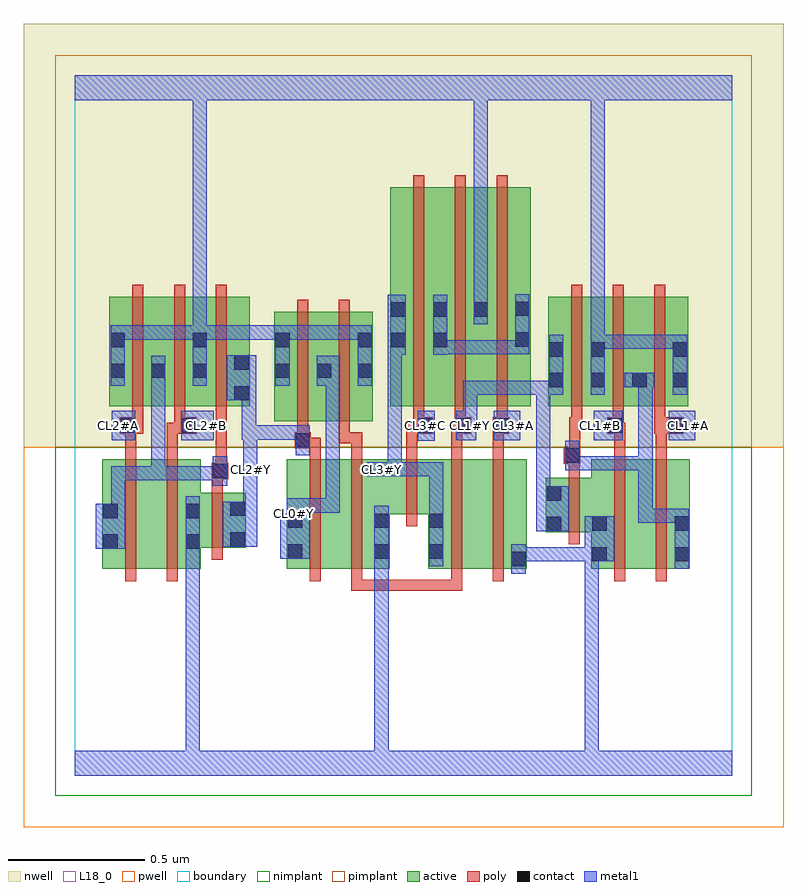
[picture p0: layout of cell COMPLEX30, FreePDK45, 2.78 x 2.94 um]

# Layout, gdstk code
import gdstk
lib = gdstk.Library(unit=1e-6, precision=1e-09)
def R(c, l, rs):  # rectangles x0, y0, x1, y1
    for r in rs: c.add(gdstk.rectangle(r[:2], r[2:], *l))
def A(c, l, x, y, w, h, nx, ny, dx, dy):  # array of equal rectangles
    R(c, l, [(x+i*dx, y+j*dy, x+i*dx+w, y+j*dy+h) for i in range(nx) for j in range(ny)])
active = (1, 0)
pwell = (2, 0)
nwell = (3, 0)
nimplant = (4, 0)
pimplant = (5, 0)
poly = (9, 0)
contact = (10, 0)
metal1 = (11, 0)
L18_0 = (18, 0)
boundary = (235, 0)

complex30 = lib.new_cell('COMPLEX30')
A(complex30, active, 0.274, 1.35, 0.06, 0.294, 3, 1, 0.152, 0)
A(complex30, active, 1.728, 1.35, 0.06, 0.294, 3, 1, 0.152, 0)
R(complex30, active, [(0.1,0.756,0.16,1.156), (0.1,0.756,0.28,1.156), (0.28,0.756,0.46,1.156), (0.4,0.756,0.46,1.034), (0.774,0.756,0.834,1.156), (0.774,0.756,0.954,1.156), (0.954,0.756,1.15,1.156), (1.09,0.756,1.15,1.156), (1.29,0.756,1.35,1.156), (1.29,0.756,1.47,1.156), (1.47,0.756,1.65,1.156), (1.59,0.756,1.65,1.156), (1.886,0.756,2.066,1.156), (1.886,0.756,1.946,1.09), (2.066,0.756,2.246,1.156), (2.186,0.756,2.246,1.156), (0.4,0.834,0.624,1.034), (0.564,0.834,0.624,1.034), (1.72,0.89,1.946,1.09), (1.72,0.89,1.78,1.09), (1.09,0.956,1.35,1.156), (0.728,1.296,0.788,1.696), (0.728,1.296,0.94,1.696), (0.88,1.296,1.088,1.696), (1.028,1.296,1.088,1.696), (0.126,1.35,0.186,1.644), (0.126,1.35,0.334,1.75), (0.274,1.35,0.486,1.75), (0.426,1.35,0.638,1.75), (1.152,1.35,1.212,2.15), (1.152,1.35,1.364,2.15), (1.304,1.35,1.512,2.15), (1.304,1.35,1.364,2.044), (1.452,1.35,1.512,2.15), (1.452,1.35,1.664,2.15), (1.604,1.35,1.664,2.15), (1.728,1.35,1.94,1.75), (1.88,1.35,2.092,1.75), (2.032,1.35,2.24,1.75), (2.18,1.35,2.24,1.644), (0.88,1.45,0.94,1.644)])
R(complex30, pwell, [(-0.188,-0.188,2.588,1.2)])
R(complex30, nwell, [(-0.188,1.2,2.588,2.748)])
R(complex30, nimplant, [(-0.072,-0.072,2.472,1.2)])
R(complex30, pimplant, [(-0.072,1.2,2.472,2.632)])
A(complex30, poly, 1.236, 1.27, 0.04, 0.076, 3, 1, 0.152, 0)
A(complex30, poly, 1.812, 1.27, 0.04, 0.076, 3, 1, 0.152, 0)
A(complex30, poly, 0.21, 1.306, 0.04, 0.488, 3, 1, 0.152, 0)
A(complex30, poly, 1.236, 1.306, 0.04, 0.888, 3, 1, 0.152, 0)
A(complex30, poly, 1.812, 1.306, 0.04, 0.488, 3, 1, 0.152, 0)
R(complex30, poly, [(1.01,0.676,1.05,0.752), (1.01,0.676,1.05,0.716), (1.01,0.676,1.05,0.716), (1.01,0.676,1.05,0.716), (1.01,0.676,1.308,0.716), (1.268,0.676,1.308,0.716), (1.268,0.676,1.308,0.716), (1.268,0.676,1.308,0.716), (1.268,0.676,1.414,0.716), (1.374,0.676,1.414,0.752), (1.374,0.676,1.414,0.716), (1.374,0.676,1.414,0.716), (1.374,0.676,1.414,0.716), (0.184,0.712,0.224,1.2), (0.336,0.712,0.376,1.2), (0.858,0.712,0.898,1.2), (1.01,0.712,1.05,1.2), (1.374,0.712,1.414,1.2), (1.526,0.712,1.566,1.2), (1.97,0.712,2.01,1.2), (2.122,0.712,2.162,1.2), (0.5,0.79,0.54,1.078), (1.804,0.846,1.844,1.134), (1.21,0.912,1.25,1.2), (0.5,1.038,0.54,1.124), (0.5,1.084,0.56,1.144), (1.804,1.094,1.844,1.18), (0.514,1.104,0.554,1.144), (0.514,1.104,0.554,1.144), (0.514,1.104,0.554,1.346), (1.786,1.14,1.846,1.2), (0.184,1.16,0.224,1.29), (0.336,1.16,0.376,1.29), (0.858,1.16,0.898,1.236), (1.01,1.16,1.05,1.256), (1.21,1.16,1.25,1.29), (1.374,1.16,1.414,1.29), (1.526,1.16,1.566,1.29), (1.806,1.16,1.846,1.31), (1.97,1.16,2.01,1.29), (2.122,1.16,2.162,1.29), (0.802,1.196,0.862,1.256), (0.822,1.196,0.862,1.236), (0.822,1.196,0.898,1.236), (0.812,1.216,0.852,1.292), (0.964,1.216,1.004,1.292), (0.964,1.216,1.024,1.256), (0.984,1.216,1.024,1.256), (0.984,1.216,1.05,1.256), (0.164,1.25,0.25,1.31), (0.184,1.25,0.224,1.29), (0.184,1.25,0.224,1.29), (0.336,1.25,0.402,1.29), (0.362,1.25,0.402,1.29), (0.362,1.25,0.444,1.31), (1.21,1.25,1.276,1.29), (1.236,1.25,1.276,1.29), (1.236,1.25,1.308,1.31), (1.374,1.25,1.428,1.29), (1.388,1.25,1.428,1.29), (1.388,1.25,1.448,1.31), (1.526,1.25,1.586,1.31), (1.944,1.25,2.004,1.31), (1.964,1.25,2.004,1.29), (1.964,1.25,2.01,1.29), (2.116,1.25,2.224,1.31), (0.812,1.252,0.852,1.74), (0.964,1.252,1.004,1.74), (0.21,1.27,0.25,1.346), (0.362,1.27,0.402,1.346), (1.54,1.27,1.58,1.31), (1.54,1.27,1.58,1.31), (1.806,1.27,1.852,1.31), (2.116,1.27,2.156,1.31), (2.116,1.27,2.156,1.31)])
A(complex30, contact, 1.732, 1.42, 0.052, 0.052, 3, 1, 0.152, 0)
R(complex30, contact, [(1.594,0.766,1.646,0.818), (1.89,0.784,1.942,0.836), (2.19,0.784,2.242,0.836), (0.778,0.794,0.83,0.846), (1.094,0.794,1.146,0.846), (1.294,0.794,1.346,0.846), (0.104,0.83,0.156,0.882), (0.404,0.83,0.456,0.882), (0.568,0.838,0.62,0.89), (1.724,0.894,1.776,0.946), (1.89,0.896,1.942,0.948), (2.19,0.896,2.242,0.948), (0.778,0.906,0.83,0.958), (1.094,0.906,1.146,0.958), (1.294,0.906,1.346,0.958), (0.104,0.942,0.156,0.994), (0.404,0.942,0.456,0.994), (0.568,0.95,0.62,1.002), (1.724,1.006,1.776,1.058), (0.504,1.088,0.556,1.14), (1.79,1.144,1.842,1.196), (0.806,1.2,0.858,1.252), (0.168,1.254,0.22,1.306), (0.388,1.254,0.44,1.306), (1.252,1.254,1.304,1.306), (1.392,1.254,1.444,1.306), (1.53,1.254,1.582,1.306), (1.948,1.254,2,1.306), (2.168,1.254,2.22,1.306), (0.582,1.372,0.634,1.424), (2.184,1.42,2.236,1.472), (0.13,1.454,0.182,1.506), (0.278,1.454,0.33,1.506), (0.43,1.454,0.482,1.506), (0.732,1.454,0.784,1.506), (0.884,1.454,0.936,1.506), (1.032,1.454,1.084,1.506), (0.582,1.484,0.634,1.536), (1.732,1.532,1.784,1.584), (1.884,1.532,1.936,1.584), (2.184,1.532,2.236,1.584), (0.13,1.566,0.182,1.618), (0.43,1.566,0.482,1.618), (0.732,1.566,0.784,1.618), (1.032,1.566,1.084,1.618), (1.156,1.566,1.208,1.618), (1.308,1.566,1.36,1.618), (1.608,1.568,1.66,1.62), (1.156,1.678,1.208,1.73), (1.308,1.678,1.36,1.73), (1.456,1.678,1.508,1.73), (1.608,1.68,1.66,1.732)])
R(complex30, metal1, [(0,0,2.4,0.092), (0.404,0.04,0.456,0.092), (0.404,0.04,0.456,0.092), (0.404,0.04,0.456,0.092), (0.404,0.04,0.456,0.092), (0.404,0.04,0.456,0.092), (0.404,0.04,0.456,0.092), (0.404,0.04,0.456,0.092), (0.404,0.04,0.456,0.092), (0.404,0.04,0.456,0.092), (0.404,0.04,0.456,0.092), (0.404,0.04,0.456,0.092), (0.404,0.04,0.456,0.092), (0.404,0.04,0.456,0.854), (1.094,0.04,1.146,0.092), (1.094,0.04,1.146,0.092), (1.094,0.04,1.146,0.092), (1.094,0.04,1.146,0.092), (1.094,0.04,1.146,0.092), (1.094,0.04,1.146,0.092), (1.094,0.04,1.146,0.092), (1.094,0.04,1.146,0.092), (1.094,0.04,1.146,0.092), (1.094,0.04,1.146,0.092), (1.094,0.04,1.146,0.092), (1.094,0.04,1.146,0.092), (1.094,0.04,1.146,0.818), (1.862,0.04,1.914,0.092), (1.862,0.04,1.914,0.092), (1.862,0.04,1.914,0.092), (1.862,0.04,1.914,0.092), (1.862,0.04,1.914,0.092), (1.862,0.04,1.914,0.092), (1.862,0.04,1.914,0.092), (1.862,0.04,1.914,0.092), (1.862,0.04,1.914,0.836), (1.594,0.738,1.646,0.846), (2.19,0.756,2.242,0.976), (1.094,0.766,1.146,0.986), (1.294,0.766,1.346,0.986), (1.594,0.784,1.778,0.836), (1.726,0.784,1.778,0.836), (1.726,0.784,1.778,0.836), (1.726,0.784,1.778,0.836), (1.726,0.784,1.914,0.836), (1.862,0.784,1.914,0.836), (1.862,0.784,1.914,0.836), (1.862,0.784,1.914,0.836), (1.862,0.784,1.914,0.836), (1.862,0.784,1.97,0.948), (0.75,0.794,0.858,0.958), (0.404,0.802,0.456,1.022), (0.076,0.83,0.184,0.994), (0.54,0.838,0.666,1.002), (1.684,0.894,1.804,1.058), (0.774,0.906,0.826,0.958), (0.774,0.906,0.826,1.014), (2.058,0.924,2.11,0.976), (2.058,0.924,2.242,0.976), (2.058,0.924,2.11,1.168), (2.19,0.924,2.242,0.976), (2.19,0.924,2.242,0.976), (1.294,0.934,1.346,1.146), (0.132,0.942,0.184,1.132), (0.614,0.95,0.666,1.118), (0.774,0.962,0.826,1.014), (0.774,0.962,0.826,1.014), (0.774,0.962,0.968,1.014), (0.916,0.962,0.968,1.014), (0.916,0.962,0.968,1.038), (0.916,0.986,0.968,1.038), (0.916,0.986,0.968,1.478), (1.684,1.006,1.736,1.444), (0.504,1.06,0.556,1.168), (0.614,1.066,0.666,1.174), (0.132,1.08,0.184,1.132), (0.132,1.08,0.184,1.132), (0.132,1.08,0.184,1.132), (0.132,1.08,0.33,1.132), (0.278,1.08,0.33,1.132), (0.278,1.08,0.33,1.132), (0.278,1.08,0.33,1.132), (0.278,1.08,0.33,1.132), (0.278,1.08,0.33,1.132), (0.278,1.08,0.456,1.132), (0.278,1.08,0.33,1.478), (0.404,1.08,0.456,1.132), (0.404,1.08,0.556,1.132), (1.066,1.094,1.194,1.146), (1.142,1.094,1.194,1.146), (1.142,1.094,1.194,1.146), (1.142,1.094,1.194,1.146), (1.142,1.094,1.194,1.146), (1.142,1.094,1.346,1.146), (1.142,1.094,1.194,1.59), (1.294,1.094,1.346,1.146), (1.79,1.116,1.89,1.168), (1.79,1.116,1.842,1.224), (1.838,1.116,1.89,1.168), (1.838,1.116,2.11,1.168), (2.058,1.116,2.11,1.168), (2.058,1.116,2.11,1.168), (2.058,1.116,2.11,1.168), (2.058,1.116,2.11,1.168), (2.058,1.116,2.11,1.168), (2.058,1.116,2.11,1.472), (0.614,1.122,0.666,1.28), (0.806,1.172,0.858,1.28), (1.252,1.224,1.314,1.334), (0.134,1.226,0.22,1.334), (0.388,1.226,0.506,1.334), (1.392,1.226,1.466,1.334), (1.53,1.226,1.626,1.334), (1.894,1.226,2,1.334), (2.168,1.226,2.266,1.334), (0.61,1.228,0.666,1.28), (0.61,1.228,0.662,1.424), (0.614,1.228,0.666,1.28), (0.614,1.228,0.666,1.28), (0.614,1.228,0.858,1.28), (1.414,1.282,1.47,1.334), (1.418,1.282,1.47,1.444), (0.554,1.372,0.662,1.536), (1.418,1.392,1.618,1.444), (1.566,1.392,1.618,1.444), (1.566,1.392,1.618,1.444), (1.566,1.392,1.618,1.444), (1.566,1.392,1.736,1.444), (1.684,1.392,1.736,1.444), (1.684,1.392,1.736,1.444), (1.684,1.392,1.784,1.444), (1.732,1.392,1.784,1.444), (1.732,1.392,1.784,1.612), (1.884,1.392,1.936,1.612), (2.184,1.392,2.236,1.612), (2.008,1.42,2.116,1.472), (0.13,1.426,0.182,1.646), (0.278,1.426,0.33,1.534), (0.43,1.426,0.482,1.646), (0.732,1.426,0.784,1.646), (0.884,1.426,0.968,1.534), (1.032,1.426,1.084,1.646), (1.142,1.538,1.208,1.758), (1.308,1.538,1.36,1.758), (1.308,1.54,1.36,1.592), (1.308,1.54,1.36,1.592), (1.308,1.54,1.47,1.592), (1.418,1.54,1.47,1.592), (1.418,1.54,1.576,1.592), (1.524,1.54,1.576,1.592), (1.524,1.54,1.66,1.592), (1.608,1.54,1.66,1.76), (1.884,1.56,1.936,1.612), (1.884,1.56,1.936,1.612), (1.884,1.56,1.936,1.612), (1.884,1.56,1.936,1.612), (1.884,1.56,1.936,1.612), (1.884,1.56,1.936,1.612), (1.884,1.56,1.936,1.612), (1.884,1.56,1.936,1.612), (1.884,1.56,1.936,1.612), (1.884,1.56,1.936,1.612), (1.884,1.56,2.11,1.612), (1.884,1.56,1.936,2.52), (2.058,1.56,2.11,1.612), (2.058,1.56,2.11,1.612), (2.058,1.56,2.11,1.612), (2.058,1.56,2.236,1.612), (2.184,1.56,2.236,1.612), (2.184,1.56,2.236,1.612), (0.13,1.594,0.182,1.646), (0.13,1.594,0.182,1.646), (0.13,1.594,0.346,1.646), (0.294,1.594,0.346,1.646), (0.294,1.594,0.346,1.646), (0.294,1.594,0.346,1.646), (0.294,1.594,0.482,1.646), (0.43,1.594,0.482,1.646), (0.43,1.594,0.482,1.646), (0.43,1.594,0.482,1.646), (0.43,1.594,0.482,1.646), (0.43,1.594,0.482,1.646), (0.43,1.594,0.482,1.646), (0.43,1.594,0.482,1.646), (0.43,1.594,0.482,1.646), (0.43,1.594,0.482,1.646), (0.43,1.594,0.482,1.646), (0.43,1.594,0.674,1.646), (0.43,1.594,0.482,2.52), (0.622,1.594,0.674,1.646), (0.622,1.594,0.784,1.646), (0.732,1.594,0.784,1.646), (0.732,1.594,0.784,1.646), (0.732,1.594,0.968,1.646), (0.916,1.594,0.968,1.646), (0.916,1.594,0.968,1.646), (0.916,1.594,0.968,1.646), (0.916,1.594,1.084,1.646), (1.456,1.65,1.508,1.758), (1.456,1.706,1.508,1.758), (1.456,1.706,1.508,1.758), (1.456,1.706,1.508,2.52), (0,2.468,2.4,2.56), (0.43,2.468,0.482,2.52), (0.43,2.468,0.482,2.52), (0.43,2.468,0.482,2.52), (0.43,2.468,0.482,2.52), (0.43,2.468,0.482,2.52), (0.43,2.468,0.482,2.52), (0.43,2.468,0.482,2.52), (0.43,2.468,0.482,2.52), (1.456,2.468,1.508,2.52), (1.456,2.468,1.508,2.52), (1.456,2.468,1.508,2.52), (1.456,2.468,1.508,2.52), (1.456,2.468,1.508,2.52), (1.456,2.468,1.508,2.52), (1.884,2.468,1.936,2.52), (1.884,2.468,1.936,2.52), (1.884,2.468,1.936,2.52), (1.884,2.468,1.936,2.52), (1.884,2.468,1.936,2.52), (1.884,2.468,1.936,2.52)])
A(complex30, L18_0, 0.774, 0.906, 0.052, 0.052, 1, 3, 0, 0.028)
A(complex30, L18_0, 1.254, 1.254, 0.052, 0.052, 3, 1, 0.16, 0)
R(complex30, L18_0, [(0,0,2.4,0.092), (0.404,0.04,0.456,0.092), (0.404,0.04,0.456,0.092), (0.404,0.04,0.456,0.092), (0.404,0.04,0.456,0.092), (0.404,0.04,0.456,0.092), (0.404,0.04,0.456,0.092), (0.404,0.04,0.456,0.092), (0.404,0.04,0.456,0.092), (0.404,0.04,0.456,0.092), (0.404,0.04,0.456,0.092), (0.404,0.04,0.456,0.092), (0.404,0.04,0.456,0.092), (0.404,0.04,0.456,0.854), (1.094,0.04,1.146,0.092), (1.094,0.04,1.146,0.092), (1.094,0.04,1.146,0.092), (1.094,0.04,1.146,0.092), (1.094,0.04,1.146,0.092), (1.094,0.04,1.146,0.092), (1.094,0.04,1.146,0.092), (1.094,0.04,1.146,0.092), (1.094,0.04,1.146,0.092), (1.094,0.04,1.146,0.092), (1.094,0.04,1.146,0.092), (1.094,0.04,1.146,0.092), (1.094,0.04,1.146,0.818), (1.862,0.04,1.914,0.092), (1.862,0.04,1.914,0.092), (1.862,0.04,1.914,0.092), (1.862,0.04,1.914,0.092), (1.862,0.04,1.914,0.092), (1.862,0.04,1.914,0.092), (1.862,0.04,1.914,0.092), (1.862,0.04,1.914,0.092), (1.862,0.04,1.914,0.836), (1.594,0.738,1.646,0.846), (1.094,0.766,1.146,0.986), (1.294,0.766,1.346,0.986), (1.594,0.784,1.778,0.836), (1.726,0.784,1.778,0.836), (1.726,0.784,1.778,0.836), (1.726,0.784,1.778,0.836), (1.726,0.784,1.914,0.836), (1.862,0.784,1.914,0.836), (1.862,0.784,1.914,0.836), (1.862,0.784,1.914,0.836), (1.862,0.784,1.914,0.836), (1.862,0.784,1.97,0.948), (0.75,0.794,0.858,0.958), (0.404,0.802,0.456,1.022), (0.54,0.838,0.666,1.002), (1.684,0.894,1.804,1.058), (0.774,0.906,0.826,1.014), (1.294,0.934,1.346,1.146), (0.614,0.95,0.666,1.118), (0.774,0.962,0.826,1.014), (0.774,0.962,0.968,1.014), (0.916,0.962,0.968,1.014), (0.916,0.962,0.968,1.038), (0.916,0.986,0.968,1.038), (0.916,0.986,0.968,1.478), (1.684,1.006,1.736,1.444), (0.614,1.066,0.666,1.174), (0.614,1.094,0.666,1.146), (1.066,1.094,1.194,1.146), (1.094,1.094,1.146,1.146), (1.142,1.094,1.194,1.146), (1.142,1.094,1.194,1.146), (1.142,1.094,1.194,1.146), (1.142,1.094,1.194,1.146), (1.142,1.094,1.194,1.59), (1.142,1.094,1.346,1.146), (1.294,1.094,1.346,1.146), (0.614,1.122,0.666,1.28), (0.806,1.172,0.858,1.28), (1.252,1.224,1.314,1.334), (0.134,1.226,0.22,1.334), (0.388,1.226,0.506,1.334), (1.392,1.226,1.466,1.334), (1.53,1.226,1.626,1.334), (1.894,1.226,2,1.334), (2.168,1.226,2.266,1.334), (0.61,1.228,0.666,1.28), (0.61,1.228,0.662,1.424), (0.614,1.228,0.666,1.28), (0.614,1.228,0.666,1.28), (0.614,1.228,0.858,1.28), (0.134,1.254,0.186,1.306), (0.454,1.254,0.506,1.306), (1.894,1.254,1.946,1.306), (2.214,1.254,2.266,1.306), (1.414,1.282,1.47,1.334), (1.418,1.282,1.47,1.444), (0.554,1.372,0.662,1.536), (1.418,1.392,1.618,1.444), (1.566,1.392,1.618,1.444), (1.566,1.392,1.618,1.444), (1.566,1.392,1.618,1.444), (1.566,1.392,1.736,1.444), (1.684,1.392,1.736,1.444), (1.684,1.392,1.736,1.444), (1.684,1.392,1.784,1.444), (1.732,1.392,1.784,1.612), (1.732,1.392,1.784,1.444), (1.884,1.392,1.936,1.612), (2.184,1.392,2.236,1.612), (0.13,1.426,0.182,1.646), (0.43,1.426,0.482,1.646), (0.732,1.426,0.784,1.646), (0.884,1.426,0.968,1.534), (1.032,1.426,1.084,1.646), (1.142,1.538,1.208,1.758), (1.884,1.56,1.936,1.612), (1.884,1.56,1.936,1.612), (1.884,1.56,1.936,1.612), (1.884,1.56,1.936,1.612), (1.884,1.56,1.936,1.612), (1.884,1.56,1.936,1.612), (1.884,1.56,1.936,1.612), (1.884,1.56,1.936,1.612), (1.884,1.56,1.936,1.612), (1.884,1.56,1.936,1.612), (1.884,1.56,1.936,2.52), (1.884,1.56,2.11,1.612), (2.058,1.56,2.11,1.612), (2.058,1.56,2.11,1.612), (2.058,1.56,2.11,1.612), (2.058,1.56,2.236,1.612), (2.184,1.56,2.236,1.612), (2.184,1.56,2.236,1.612), (0.13,1.594,0.182,1.646), (0.13,1.594,0.182,1.646), (0.13,1.594,0.346,1.646), (0.294,1.594,0.346,1.646), (0.294,1.594,0.346,1.646), (0.294,1.594,0.346,1.646), (0.294,1.594,0.482,1.646), (0.43,1.594,0.482,1.646), (0.43,1.594,0.482,1.646), (0.43,1.594,0.482,1.646), (0.43,1.594,0.482,1.646), (0.43,1.594,0.482,1.646), (0.43,1.594,0.482,1.646), (0.43,1.594,0.482,1.646), (0.43,1.594,0.482,1.646), (0.43,1.594,0.482,1.646), (0.43,1.594,0.482,1.646), (0.43,1.594,0.482,2.52), (0.43,1.594,0.674,1.646), (0.622,1.594,0.674,1.646), (0.622,1.594,0.784,1.646), (0.732,1.594,0.784,1.646), (0.732,1.594,0.784,1.646), (0.732,1.594,0.968,1.646), (0.916,1.594,0.968,1.646), (0.916,1.594,0.968,1.646), (0.916,1.594,0.968,1.646), (0.916,1.594,1.084,1.646), (1.456,1.65,1.508,1.758), (1.456,1.706,1.508,1.758), (1.456,1.706,1.508,1.758), (1.456,1.706,1.508,2.52), (0,2.468,2.4,2.56), (0.43,2.468,0.482,2.52), (0.43,2.468,0.482,2.52), (0.43,2.468,0.482,2.52), (0.43,2.468,0.482,2.52), (0.43,2.468,0.482,2.52), (0.43,2.468,0.482,2.52), (0.43,2.468,0.482,2.52), (0.43,2.468,0.482,2.52), (1.456,2.468,1.508,2.52), (1.456,2.468,1.508,2.52), (1.456,2.468,1.508,2.52), (1.456,2.468,1.508,2.52), (1.456,2.468,1.508,2.52), (1.456,2.468,1.508,2.52), (1.884,2.468,1.936,2.52), (1.884,2.468,1.936,2.52), (1.884,2.468,1.936,2.52), (1.884,2.468,1.936,2.52), (1.884,2.468,1.936,2.52), (1.884,2.468,1.936,2.52)])
R(complex30, boundary, [(0,0,2.4,2.56)])
complex30.add(gdstk.Label('CL0#Y', (0.8,0.96), layer=11, texttype=0))
complex30.add(gdstk.Label('CL1#A', (2.24,1.28), layer=11, texttype=0))
complex30.add(gdstk.Label('CL1#B', (1.92,1.28), layer=11, texttype=0))
complex30.add(gdstk.Label('CL1#Y', (1.44,1.28), layer=11, texttype=0))
complex30.add(gdstk.Label('CL2#A', (0.16,1.28), layer=11, texttype=0))
complex30.add(gdstk.Label('CL2#B', (0.48,1.28), layer=11, texttype=0))
complex30.add(gdstk.Label('CL2#Y', (0.64,1.12), layer=11, texttype=0))
complex30.add(gdstk.Label('CL3#A', (1.6,1.28), layer=11, texttype=0))
complex30.add(gdstk.Label('CL3#C', (1.28,1.28), layer=11, texttype=0))
complex30.add(gdstk.Label('CL3#Y', (1.12,1.12), layer=11, texttype=0))

lib.write_gds('COMPLEX30.gds')
